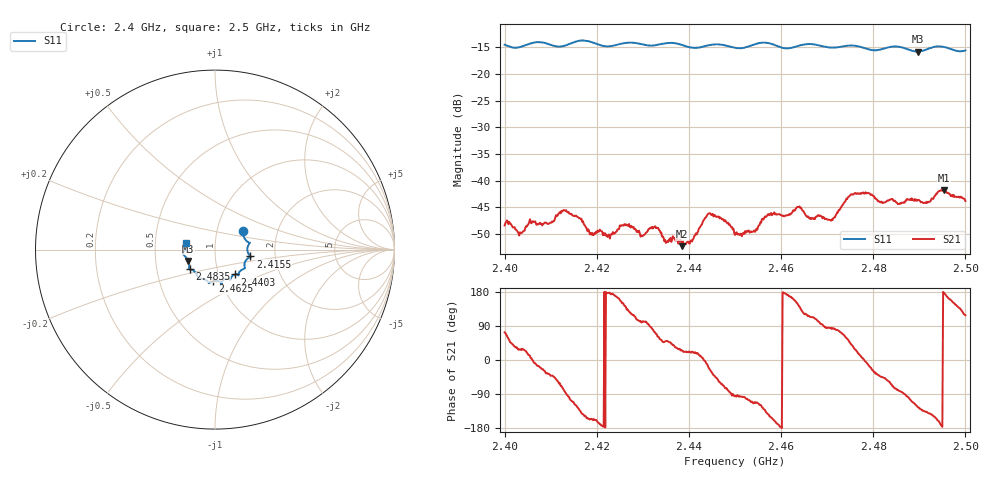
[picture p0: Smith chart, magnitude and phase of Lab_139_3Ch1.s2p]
# Hz S RI R 50
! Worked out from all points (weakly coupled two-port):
!   601 points, 2.4 GHz to 2.5 GHz, reference 50 ohm
!   highest |S21| = -41.75 dB at 2.4953 GHz (marker M1); lowest = -52.3 dB at 2.4385 GHz (marker M2)
!   lowest |S11| = -15.8 dB at 2.4897 GHz (marker M3), VSWR 1.39, Z = 36.8 - j4.81 ohm
!   |S11| at or under -10 dB: start of sweep to end of sweep
!   S12 and S22 are empty: the file has one direction only
!   S11 on the Smith chart (normalised r, x): 2.4 GHz: 1.33, +0.29; 2.4155 GHz: 1.49, -0.12; 2.4403 GHz: 1.19, -0.34; 2.4625 GHz: 0.92, -0.33; 2.4835 GHz: 0.74, -0.17; 2.5 GHz: 0.72, +0.06
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2.4e9  0.1557 0.1047  0.00111 0.00364  0 0  0 0
2.4035e9  0.1708 0.0542  0.00283 0.00153  0 0  0 0
2.412833e9  0.182 -0.0124  0.000974 -0.00522  0 0  0 0
2.4155e9  0.1972 -0.0382  -0.00234 -0.00409  0 0  0 0
2.416667e9  0.201 -0.042  -0.00338 -0.00282  0 0  0 0
2.419e9  0.1927 -0.0432  -0.00298 -0.00129  0 0  0 0
2.433333e9  0.132 -0.1337  0.00172 0.00317  0 0  0 0
2.435e9  0.1309 -0.1424  0.00169 0.00199  0 0  0 0
2.4385e9  0.1247 -0.1389  0.00221 0.00102  0 0  0 0
2.440333e9  0.1103 -0.1385  0.00255 0.00095  0 0  0 0
2.444333e9  0.0858 -0.1645  0.00458 -0.00183  0 0  0 0
2.45e9  0.0641 -0.1634  -0.000315 -0.00309  0 0  0 0
2.4625e9  -0.0112 -0.1762  -0.0049 0.00147  0 0  0 0
2.464e9  -0.026 -0.1825  -0.00443 0.00363  0 0  0 0
2.466667e9  -0.0344 -0.1869  -0.00178 0.00412  0 0  0 0
2.471167e9  -0.0608 -0.1654  0.000463 0.00425  0 0  0 0
2.475667e9  -0.0934 -0.1585  0.00609 0.00421  0 0  0 0
2.483333e9  -0.1393 -0.1099  0.00358 -0.00542  0 0  0 0
2.4835e9  -0.1403 -0.1096  0.00359 -0.00553  0 0  0 0
2.489667e9  -0.1487 -0.0636  -0.00366 -0.00548  0 0  0 0
2.495333e9  -0.1778 -0.0179  -0.00817 0.000354  0 0  0 0
2.5e9  -0.1611 0.0395  -0.00304 0.00568  0 0  0 0
